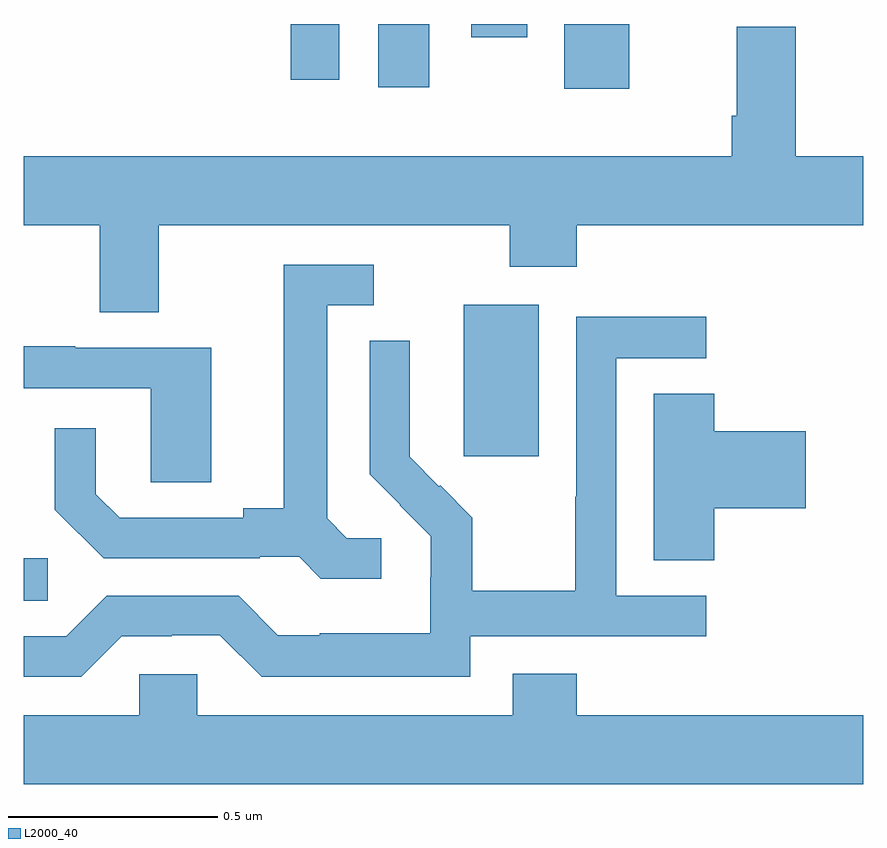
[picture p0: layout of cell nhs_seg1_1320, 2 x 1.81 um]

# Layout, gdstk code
import gdstk
lib = gdstk.Library(unit=1e-6, precision=1e-09)
def R(c, l, rs):  # rectangles x0, y0, x1, y1
    for r in rs: c.add(gdstk.rectangle(r[:2], r[2:], *l))
def P(c, l, *ps):  # polygons
    for p in ps: c.add(gdstk.Polygon(p, *l))
L2000_40 = (2000, 40)

nhs_seg1_1320 = lib.new_cell('nhs_seg1_1320')
R(nhs_seg1_1320, L2000_40, [(127,562.825,127.057,562.926), (128.048,563.169,128.227,563.53), (128.288,564.045,128.443,564.199), (127.844,564.048,127.966,564.199), (127.636,564.066,127.752,564.199), (128.066,564.168,128.2,564.199)])
P(nhs_seg1_1320, L2000_40, [(127.321,563.72),(128.158,563.72),(128.158,563.621),(128.318,563.621),(128.318,563.72),(129,563.72),(129,563.884),(128.839,563.884),(128.839,564.193),(128.699,564.193),(128.699,563.98),(128.687,563.98),(128.687,563.884),(127,563.884),(127,563.72),(127.181,563.72),(127.181,563.512),(127.321,563.512)],
  [(127.852,562.974),(127.77,562.974),(127.723,563.021),(127.723,563.529),(127.834,563.529),(127.834,563.625),(127.619,563.625),(127.619,563.045),(127.523,563.045),(127.523,563.022),(127.228,563.022),(127.171,563.079),(127.171,563.236),(127.074,563.236),(127.074,563.042),(127.19,562.926),(127.562,562.926),(127.562,562.929),(127.656,562.929),(127.708,562.877),(127.852,562.877)],
  [(128.064,562.74),(128.626,562.74),(128.626,562.836),(128.412,562.836),(128.412,563.403),(128.626,563.403),(128.626,563.502),(128.316,563.502),(128.316,563.072),(128.314,563.072),(128.314,562.849),(128.069,562.849),(128.069,563.023),(127.992,563.1),(127.989,563.097),(127.919,563.168),(127.919,563.29),(127.92,563.29),(127.92,563.444),(127.824,563.444),(127.824,563.126),(127.897,563.053),(127.896,563.052),(127.97,562.978),(127.97,562.881),(127.968,562.881),(127.968,562.747),(127.705,562.747),(127.705,562.743),(127.605,562.743),(127.512,562.836),(127.197,562.836),(127.101,562.74),(127,562.74),(127,562.644),(127.137,562.644),(127.233,562.74),(127.352,562.74),(127.352,562.743),(127.467,562.743),(127.567,562.643),(128.064,562.643)],
  [(127.447,563.427),(127.123,563.427),(127.123,563.431),(127,563.431),(127,563.331),(127.302,563.331),(127.302,563.107),(127.447,563.107)],
  [(128.645,563.045),(128.863,563.045),(128.863,563.228),(128.645,563.228),(128.645,563.318),(128.501,563.318),(128.501,562.921),(128.645,562.921)],
  [(129,562.552),(128.318,562.552),(128.318,562.651),(128.165,562.651),(128.165,562.552),(127.413,562.552),(127.413,562.65),(127.275,562.65),(127.275,562.552),(127,562.552),(127,562.388),(129,562.388)])

lib.write_gds('nhs_seg1_1320.gds')
